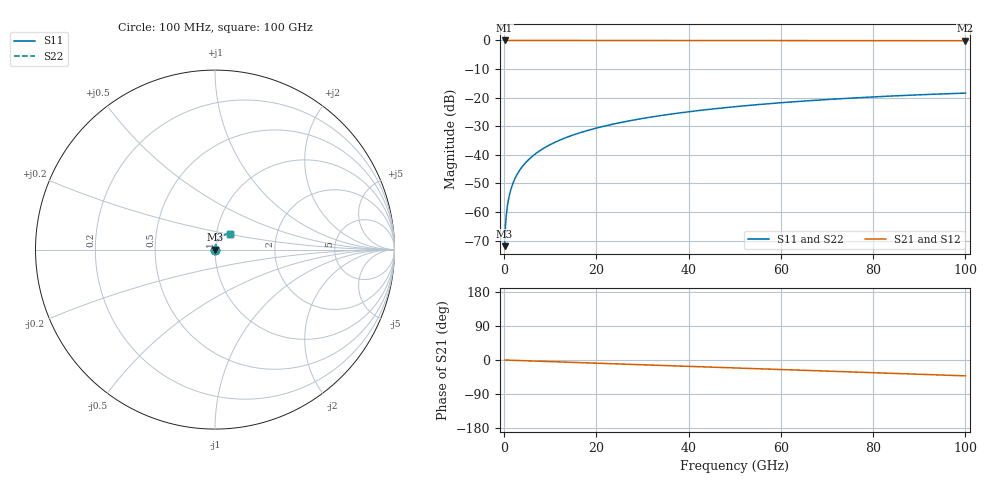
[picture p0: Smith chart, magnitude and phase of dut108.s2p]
! Touchstone file exported from HFSS 2026.1.0
!  File:  C:/ffzhzh/LocalFiles/Ansys_Project_Files/temp_train_TSV_108_1783505886_41296.aedt
!  Generated:  06:19:23 PM Jul  8, 2026
!  Design:  TSV
!  Project:  temp_train_TSV_108_1783505886_41296
! Variables:
!  h_bsmrdl = 2um
!  h_ox = 20um
!  h_rdl = 5um
!  h_sub = 82.27um
!  h_tmrdl = 5um
!  h_tsv = 82.27um
!  h_via = 3um
!  l_bsmrdl = 300um
!  l_sub = 417.12um
!  l_tmrdl = 200um
!  m_sub = 200um
!  pitch = 44.33um
!  r_tsv = 8.56um
!  s_tmrdl = 10um
!  w_bsmrdl = 18um
!  w_sub = 500um
!  w_tmrdl = 12um
!  x_tsv_center1 = 206um
!  x_tsv_center2 = 524um
!  x_tsv_center3 = 736um
!  x_tsv_center4 = 1054um
!  x_tsv_center5 = 1266um
!  x_tsv_center6 = 1584um
# GHz S MA R 50.000000
! Terminal data exported
! Port[1] = TSV1_1_T1
! Port[2] = TSV1_1_T2
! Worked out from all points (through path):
!   1000 points, 100 MHz to 100 GHz, reference 50 ohm
!   highest |S21| = 0.00 dB at 100 MHz (marker M1); lowest = -0.1 dB at 100 GHz (marker M2)
!   group delay of S21, straight-line fit = 1.16 ps
!   lowest |S11| = -72.0 dB at 100 MHz (marker M3), VSWR 1.00, Z = 50 + j0.0191 ohm
!   |S11| at or under -10 dB: start of sweep to end of sweep
!   |S22| runs from -72.0 to -18.4 dB; largest |S21 - S12| = 6.4e-15
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0.1  0.0002518 49.2  0.9998 -0.0  0.9998 -0.0  0.0002518 49.2
! Gamma 0 0 0 0
! Port Impedance 50 0 50 0
0.4  0.0007652 73.5  0.9998 -0.2  0.9998 -0.2  0.0007652 73.5
0.7  0.001263 77.2  0.9997 -0.3  0.9997 -0.3  0.001263 77.2
0.8  0.001424 77.9  0.9997 -0.4  0.9997 -0.4  0.001424 77.9
1  0.001743 78.9  0.9997 -0.4  0.9997 -0.4  0.001743 78.9
1.3  0.002215 80.0  0.9996 -0.6  0.9996 -0.6  0.002215 80.0
1.8  0.002992 81.0  0.9996 -0.8  0.9996 -0.8  0.002992 81.0
2.3  0.003757 81.6  0.9995 -1.0  0.9995 -1.0  0.003757 81.6
3  0.004813 82.0  0.9994 -1.3  0.9994 -1.3  0.004813 82.0
3.8  0.006005 82.3  0.9993 -1.6  0.9993 -1.6  0.006005 82.3
4.8  0.007482 82.5  0.9993 -2.0  0.9993 -2.0  0.007482 82.5
6  0.009244 82.5  0.9992 -2.6  0.9992 -2.6  0.009244 82.5
8.8  0.01333 82.2  0.999 -3.7  0.999 -3.7  0.01333 82.1
12.4  0.01852 81.2  0.9987 -5.3  0.9987 -5.3  0.01852 81.2
16.8  0.0248 79.8  0.9983 -7.1  0.9983 -7.1  0.0248 79.8
24.2  0.03519 77.2  0.9978 -10.2  0.9978 -10.2  0.03519 77.2
33.4  0.04779 73.7  0.997 -14.1  0.997 -14.1  0.04779 73.7
41.2  0.05812 70.6  0.9962 -17.3  0.9962 -17.3  0.05812 70.6
50.1  0.06944 67.1  0.9953 -21.0  0.9953 -21.0  0.06944 67.1
66.7  0.08896 60.4  0.9934 -28.0  0.9934 -28.0  0.08896 60.4
83.4  0.1061 53.6  0.9914 -34.9  0.9914 -34.9  0.1061 53.6
100  0.1199 46.9  0.9895 -41.8  0.9895 -41.8  0.1199 46.9
